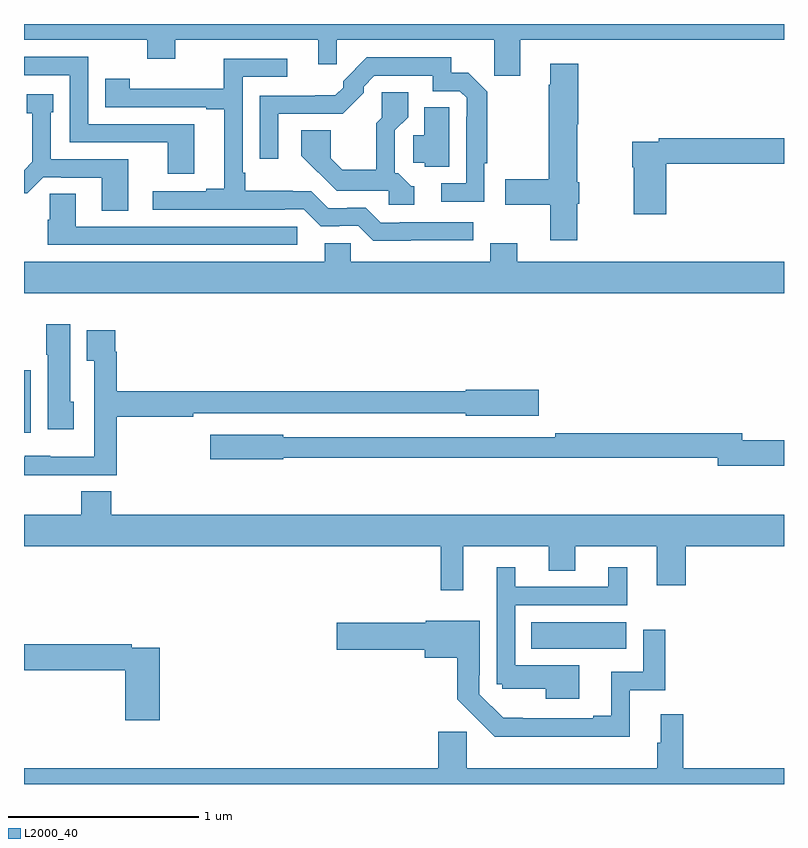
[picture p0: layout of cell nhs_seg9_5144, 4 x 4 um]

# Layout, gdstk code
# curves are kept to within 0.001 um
import gdstk
lib = gdstk.Library(unit=1e-6, precision=1e-09)
def R(c, l, rs):  # rectangles x0, y0, x1, y1
    for r in rs: c.add(gdstk.rectangle(r[:2], r[2:], *l))
def P(c, l, *ps):  # polygons
    for p in ps: c.add(gdstk.Polygon(p, *l))
L2000_40 = (2000, 40)

nhs_seg9_5144 = lib.new_cell('nhs_seg9_5144')
R(nhs_seg9_5144, L2000_40, [(411.67,1197.212,412.171,1197.352), (409,1198.35,409.036,1198.677)])
P(nhs_seg9_5144, L2000_40, [(411.613,1200.416),(413,1200.416),(413,1200.5),(409,1200.5),(409,1200.416),(409.648,1200.416),(409.648,1200.317),(409.795,1200.317),(409.795,1200.416),(410.549,1200.416),(410.549,1200.287),(410.645,1200.287),(410.645,1200.416),(411.475,1200.416),(411.475,1200.228),(411.613,1200.228)],
  [(409.897,1199.973),(409.338,1199.973),(409.338,1200.327),(409,1200.327),(409,1200.231),(409.242,1200.231),(409.242,1199.877),(409.757,1199.877),(409.757,1199.712),(409.897,1199.712)],
  [(411.423,1199.768),(411.438,1199.768),(411.438,1200.144),(411.338,1200.244),(411.249,1200.244),(411.249,1200.324),(410.804,1200.324),(410.679,1200.199),(410.679,1200.165),(410.638,1200.124),(410.241,1200.123),(410.241,1199.79),(410.337,1199.79),(410.337,1200.027),(410.677,1200.027),(410.787,1200.137),(410.787,1200.171),(410.844,1200.228),(411.15,1200.228),(411.15,1200.147),(411.294,1200.147),(411.33,1200.111),(411.33,1200.011),(411.327,1200.011),(411.327,1199.661),(411.195,1199.661),(411.195,1199.565),(411.423,1199.565)],
  [(411.035,1199.361),(411.364,1199.361),(411.364,1199.457),(410.977,1199.457),(410.977,1199.454),(410.877,1199.454),(410.799,1199.532),(410.702,1199.532),(410.702,1199.529),(410.601,1199.529),(410.511,1199.619),(410.414,1199.619),(410.414,1199.623),(410.164,1199.623),(410.164,1199.716),(410.151,1199.716),(410.151,1200.222),(410.386,1200.222),(410.386,1200.318),(410.05,1200.318),(410.05,1200.16),(409.556,1200.16),(409.556,1200.211),(409.428,1200.211),(409.428,1200.063),(409.958,1200.063),(409.958,1200.051),(410.054,1200.051),(410.054,1199.632),(409.958,1199.632),(409.958,1199.619),(409.677,1199.619),(409.677,1199.523),(410.372,1199.523),(410.372,1199.526),(410.472,1199.526),(410.562,1199.436),(410.66,1199.436),(410.66,1199.439),(410.76,1199.439),(410.839,1199.36)],
  [(411.912,1199.553),(411.922,1199.553),(411.922,1199.667),(411.912,1199.667),(411.912,1199.973),(411.917,1199.973),(411.917,1200.292),(411.77,1200.292),(411.77,1200.179),(411.763,1200.179),(411.763,1199.684),(411.534,1199.684),(411.534,1199.549),(411.77,1199.549),(411.77,1199.361),(411.912,1199.361)],
  [(411.055,1199.646),(411.039,1199.646),(410.97,1199.715),(410.952,1199.715),(410.952,1199.94),(411.022,1200.01),(411.022,1200.142),(410.883,1200.142),(410.883,1200.007),(410.854,1199.978),(410.854,1199.733),(410.675,1199.733),(410.614,1199.794),(410.614,1199.942),(410.46,1199.942),(410.46,1199.806),(410.645,1199.622),(410.919,1199.622),(410.919,1199.55),(411.055,1199.55)],
  [(409.549,1199.787),(409.14,1199.787),(409.14,1200.036),(409.153,1200.036),(409.153,1200.129),(409.014,1200.129),(409.014,1200.031),(409.044,1200.031),(409.044,1199.775),(409,1199.731),(409,1199.61),(409.017,1199.61),(409.101,1199.694),(409.195,1199.694),(409.195,1199.691),(409.409,1199.691),(409.409,1199.518),(409.549,1199.518)],
  [(411.237,1200.062),(411.107,1200.062),(411.107,1199.915),(411.048,1199.915),(411.048,1199.769),(411.108,1199.769),(411.108,1199.75),(411.237,1199.75)],
  [(412.379,1199.764),(413,1199.764),(413,1199.9),(412.342,1199.9),(412.342,1199.88),(412.201,1199.88),(412.201,1199.747),(412.208,1199.747),(412.208,1199.499),(412.379,1199.499)],
  [(410.437,1199.433),(409.273,1199.433),(409.273,1199.606),(409.135,1199.606),(409.135,1199.469),(409.126,1199.469),(409.126,1199.337),(410.437,1199.337)],
  [(413,1199.248),(411.595,1199.248),(411.595,1199.347),(411.455,1199.347),(411.455,1199.248),(410.721,1199.248),(410.721,1199.346),(410.582,1199.346),(410.582,1199.248),(409,1199.248),(409,1199.084),(413,1199.084)],
  [(409.261,1198.512),(409.243,1198.512),(409.243,1198.921),(409.118,1198.921),(409.118,1198.758),(409.124,1198.758),(409.124,1198.368),(409.261,1198.368)],
  [(409.237,1198.125),(409.487,1198.125),(409.487,1198.432),(409.892,1198.432),(409.892,1198.452),(411.324,1198.452),(411.324,1198.439),(411.709,1198.439),(411.709,1198.574),(411.324,1198.574),(411.324,1198.568),(409.487,1198.568),(409.487,1198.775),(409.48,1198.775),(409.48,1198.888),(409.331,1198.888),(409.331,1198.727),(409.371,1198.727),(409.371,1198.222),(409.137,1198.222),(409.137,1198.228),(409.005,1198.228),(409.005,1198.221),(409,1198.221),(409,1198.125),(409.005,1198.125),(409.005,1198.124),(409.237,1198.124)],
  [(413,1198.31),(412.78,1198.31),(412.78,1198.346),(411.796,1198.346),(411.796,1198.326),(410.364,1198.326),(410.364,1198.339),(409.98,1198.339),(409.98,1198.21),(410.364,1198.21),(410.364,1198.218),(412.652,1198.218),(412.652,1198.175),(413,1198.175)],
  [(411.311,1197.752),(411.761,1197.752),(411.761,1197.622),(411.901,1197.622),(411.901,1197.752),(412.331,1197.752),(412.331,1197.546),(412.484,1197.546),(412.484,1197.752),(413,1197.752),(413,1197.916),(409.46,1197.916),(409.46,1198.04),(409.3,1198.04),(409.3,1197.916),(409,1197.916),(409,1197.752),(411.193,1197.752),(411.193,1197.519),(411.311,1197.519)],
  [(411.922,1197.124),(411.585,1197.124),(411.585,1197.441),(412.174,1197.441),(412.174,1197.64),(412.076,1197.64),(412.076,1197.537),(411.586,1197.537),(411.586,1197.64),(411.489,1197.64),(411.489,1197.024),(411.516,1197.024),(411.516,1197.002),(411.746,1197.002),(411.746,1196.948),(411.922,1196.948)],
  [(411.677,1196.75),(412.189,1196.75),(412.189,1196.994),(412.376,1196.994),(412.376,1197.313),(412.26,1197.313),(412.26,1197.09),(412.091,1197.09),(412.091,1196.86),(411.995,1196.86),(411.995,1196.847),(411.522,1196.848),(411.396,1196.973),(411.396,1197.073),(411.399,1197.073),(411.399,1197.358),(411.114,1197.358),(411.114,1197.348),(410.646,1197.348),(410.646,1197.206),(411.11,1197.206),(411.11,1197.164),(411.281,1197.164),(411.281,1196.945),(411.478,1196.748),(411.677,1196.748)],
  [(409.715,1197.216),(409.568,1197.216),(409.568,1197.236),(409,1197.236),(409,1197.1),(409.532,1197.1),(409.532,1196.835),(409.715,1196.835)],
  [(413,1196.584),(412.469,1196.584),(412.469,1196.866),(412.352,1196.866),(412.352,1196.717),(412.333,1196.717),(412.333,1196.584),(411.329,1196.584),(411.329,1196.775),(411.179,1196.775),(411.179,1196.584),(409,1196.584),(409,1196.5),(413,1196.5)])

lib.write_gds('nhs_seg9_5144.gds')
